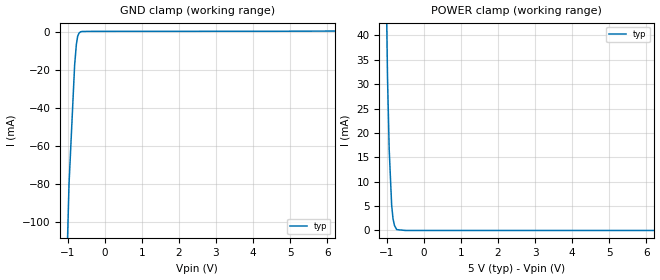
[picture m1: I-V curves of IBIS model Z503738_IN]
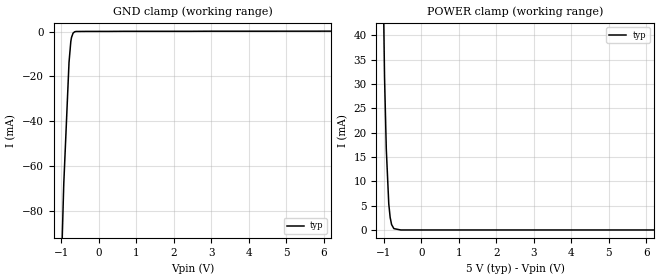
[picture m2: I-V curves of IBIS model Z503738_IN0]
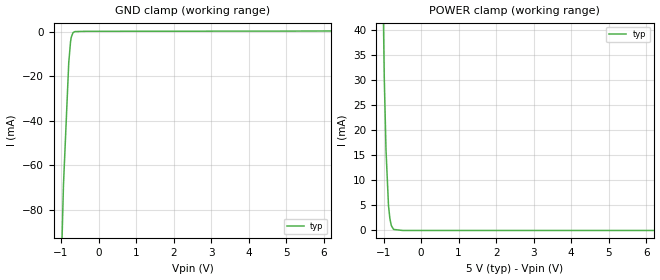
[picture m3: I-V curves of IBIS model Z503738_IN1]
| YOU ARE ONLY AUTHORIZED TO USE THIS SOFTWARE
| ACCORDING TO LICENSOR'S LICENSE RESTRICTIONS.
[IBIS Ver] 3.1
[File Name] mc74ac153d_5.ibs
[File Rev] 2.0
[Source] Measured and created by ICX Technology
[Date] Friday 7/14/00 9:07:58 AM
[Copyright]
| (C) COPYRIGHT 1993-2000
| MENTOR GRAPHICS CORPORATION
| ICX STANDARD LIBRARY, ICX PROJECT MODELING,
| ICX CUSTOM MODELING, ICX VENDOR MODEL
| ALL RIGHTS RESERVED.
| THE FOLLOWING ARE TRADEMARKS OR SERVICE MARKS OF
| MENTOR GRAPHICS CORPORATION:ICX (R), ICX STANDARD
| LIBRARY(R), ICX PROJECT MODELING(R), ICX CUSTOM
| MODELING(R), qualityIBIS(TM), MODELVIEWER(TM),
| AND MODELEDITOR(TM)
| ALL COPIES OF SOFTWARE, INCLUDING BUT NOT LIMITED TO
| ANY MODIFICATIONS, ENHANCEMENTS OR DERIVATIVE WORKS,
| MUST CONTAIN ALL MENTOR GRAPHICS CORPORATION'S
| NOTICES AND LEGENDS, INCLUDING THOSE EMBEDDED IN
| SOFTWARE AND THOSE AFFIXED TO SOFTWARE MEDIUM
| AND CONTAINER, AS RECEIVED FROM MENTOR GRAPHICS
| CORPORATION.
|  ZAP Model Builder 2.7
[Component] MC74AC153D_5
[Manufacturer] OnSemiconductor
[Package]
| variable   typ   min   max
R_pkg  .156ohms NA NA
L_pkg  3.148nH NA NA
C_pkg  .388pF NA NA
[Pin] signal_name  model_name  R_pin  L_pin C_pin
1 _G1 Z503738_IN0 .162 3.798n .418p
2 B Z503738_IN1 .158 3.358n .398p
3 C3A Z503738_IN .154 2.928n .378p
4 C2A Z503738_IN .15 2.508n .358p
5 C1A Z503738_IN .15 2.508n .358p
6 C0A Z503738_IN .154 2.928n .378p
7 Y1 Z503738_OUT .158 3.358n .398p
8 GND GND .162 3.798n .418p
9 Y2 Z503738_OUT .162 3.798n .418p
10 C0B Z503738_IN .158 3.358n .398p
11 C1B Z503738_IN .154 2.928n .378p
12 C2B Z503738_IN .15 2.508n .358p
13 C3B Z503738_IN .15 2.508n .358p
14 A Z503738_IN1 .154 2.928n .378p
15 _G2 Z503738_IN0 .158 3.358n .398p
16 VCC POWER .162 3.798n .418p
| Models and submodels in the file (4): Z503738_IN (Input), Z503738_IN0 (Input), Z503738_IN1 (Input), Z503738_OUT (Output)
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| (C) COPYRIGHT 1993-2000
| MENTOR GRAPHICS CORPORATION
| ICX STANDARD LIBRARY, ICX PROJECT MODELING,
| ICX CUSTOM MODELING, ICX VENDOR MODEL
| ALL RIGHTS RESERVED.
| THE FOLLOWING ARE TRADEMARKS OR SERVICE MARKS OF
| MENTOR GRAPHICS CORPORATION:ICX (R), ICX STANDARD
| LIBRARY(R), ICX PROJECT MODELING(R), ICX CUSTOM
| MODELING(R), qualityIBIS(TM), MODELVIEWER(TM),
| AND MODELEDITOR(TM)
| ALL COPIES OF SOFTWARE, INCLUDING BUT NOT LIMITED TO
| ANY MODIFICATIONS, ENHANCEMENTS OR DERIVATIVE WORKS,
| MUST CONTAIN ALL MENTOR GRAPHICS CORPORATION'S
| NOTICES AND LEGENDS, INCLUDING THOSE EMBEDDED IN
| SOFTWARE AND THOSE AFFIXED TO SOFTWARE MEDIUM
| AND CONTAINER, AS RECEIVED FROM MENTOR GRAPHICS
| CORPORATION.
| Model Application Version 1.89 2/18/99.
[Model] Z503738_IN
Model_type Input
Vinl = 1.500V
Vinh = 3.500V
C_comp 4.000pF NA NA
| variable typ   min   max
[Voltage Range] 5.000V NA NA
[GND Clamp Reference] 0.000V NA NA
[POWER Clamp Reference] 5.000V NA NA
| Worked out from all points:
|   GND clamp passes 1 mA (typ) near -0.69 V on its own axis
|   POWER clamp passes 1 mA (typ) near -0.79 V on its own axis
[GND Clamp]
-5V       -2.662A    NA         NA
-1.128V   -201.3mA   NA         NA
-961.2mV  -80.34mA   NA         NA
-809.9mV  -17.73mA   NA         NA
-762.8mV  -6.702mA   NA         NA
-728.9mV  -2.566mA   NA         NA
-686.7mV  -695.1uA   NA         NA
-648mV    -125.2uA   NA         NA
10V       546.9uA    NA         NA
[POWER Clamp]
-5V       3.455A     NA         NA
-1.226V   192mA      NA         NA
-1.093V   92.57mA    NA         NA
-980mV    31.52mA    NA         NA
-934mV    16.53mA    NA         NA
-868mV    5.203mA    NA         NA
-832mV    2.463mA    NA         NA
-793mV    1.043mA    NA         NA
-732mV    178.3uA    NA         NA
-488mV    0A         NA         NA
10V       0A         NA         NA
| (C) COPYRIGHT 1993-2000
| MENTOR GRAPHICS CORPORATION
| ICX STANDARD LIBRARY, ICX PROJECT MODELING,
| ICX CUSTOM MODELING, ICX VENDOR MODEL
| ALL RIGHTS RESERVED.
| THE FOLLOWING ARE TRADEMARKS OR SERVICE MARKS OF
| MENTOR GRAPHICS CORPORATION:ICX (R), ICX STANDARD
| LIBRARY(R), ICX PROJECT MODELING(R), ICX CUSTOM
| MODELING(R), qualityIBIS(TM), MODELVIEWER(TM),
| AND MODELEDITOR(TM)
| ALL COPIES OF SOFTWARE, INCLUDING BUT NOT LIMITED TO
| ANY MODIFICATIONS, ENHANCEMENTS OR DERIVATIVE WORKS,
| MUST CONTAIN ALL MENTOR GRAPHICS CORPORATION'S
| NOTICES AND LEGENDS, INCLUDING THOSE EMBEDDED IN
| SOFTWARE AND THOSE AFFIXED TO SOFTWARE MEDIUM
| AND CONTAINER, AS RECEIVED FROM MENTOR GRAPHICS
| CORPORATION.
| Model Application Version 1.89 2/18/99.
[Model] Z503738_IN0
Model_type Input
Vinl = 1.500V
Vinh = 3.500V
C_comp 4.000pF NA NA
| variable typ   min   max
[Voltage Range] 5.000V NA NA
[GND Clamp Reference] 0.000V NA NA
[POWER Clamp Reference] 5.000V NA NA
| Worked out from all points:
|   GND clamp passes 1 mA (typ) near -0.69 V on its own axis
|   POWER clamp passes 1 mA (typ) near -0.78 V on its own axis
[GND Clamp]
-5V       -2.432A    NA         NA
-1.021V   -118.9mA   NA         NA
-935.1mV  -68.23mA   NA         NA
-794.9mV  -13.79mA   NA         NA
-746.8mV  -4.446mA   NA         NA
-728.8mV  -2.637mA   NA         NA
-686.7mV  -700.7uA   NA         NA
-648.2mV  -124uA     NA         NA
10V       240.5uA    NA         NA
[POWER Clamp]
-5V       3.177A     NA         NA
-1.106V   99.45mA    NA         NA
-981mV    31.45mA    NA         NA
-934mV    16.61mA    NA         NA
-868mV    5.363mA    NA         NA
-831mV    2.581mA    NA         NA
-793mV    1.117mA    NA         NA
-732mV    279.8uA    NA         NA
-549mV    0A         NA         NA
10V       0A         NA         NA
| (C) COPYRIGHT 1993-2000
| MENTOR GRAPHICS CORPORATION
| ICX STANDARD LIBRARY, ICX PROJECT MODELING,
| ICX CUSTOM MODELING, ICX VENDOR MODEL
| ALL RIGHTS RESERVED.
| THE FOLLOWING ARE TRADEMARKS OR SERVICE MARKS OF
| MENTOR GRAPHICS CORPORATION:ICX (R), ICX STANDARD
| LIBRARY(R), ICX PROJECT MODELING(R), ICX CUSTOM
| MODELING(R), qualityIBIS(TM), MODELVIEWER(TM),
| AND MODELEDITOR(TM)
| ALL COPIES OF SOFTWARE, INCLUDING BUT NOT LIMITED TO
| ANY MODIFICATIONS, ENHANCEMENTS OR DERIVATIVE WORKS,
| MUST CONTAIN ALL MENTOR GRAPHICS CORPORATION'S
| NOTICES AND LEGENDS, INCLUDING THOSE EMBEDDED IN
| SOFTWARE AND THOSE AFFIXED TO SOFTWARE MEDIUM
| AND CONTAINER, AS RECEIVED FROM MENTOR GRAPHICS
| CORPORATION.
| Model Application Version 1.89 2/18/99.
[Model] Z503738_IN1
Model_type Input
Vinl = 1.500V
Vinh = 3.500V
C_comp 4.000pF NA NA
| variable typ   min   max
[Voltage Range] 5.000V NA NA
[GND Clamp Reference] 0.000V NA NA
[POWER Clamp Reference] 5.000V NA NA
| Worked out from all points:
|   GND clamp passes 1 mA (typ) near -0.69 V on its own axis
|   POWER clamp passes 1 mA (typ) near -0.79 V on its own axis
[GND Clamp]
-5V       -2.649A    NA         NA
-934.8mV  -68.62mA   NA         NA
-794.5mV  -13.97mA   NA         NA
-746.3mV  -4.537mA   NA         NA
-729.1mV  -2.696mA   NA         NA
-686.8mV  -722.6uA   NA         NA
-628mV    -18.44uA   NA         NA
10V       446.4uA    NA         NA
[POWER Clamp]
-5V       3.188A     NA         NA
-1.108V   98.52mA    NA         NA
-981mV    30.74mA    NA         NA
-934mV    16.04mA    NA         NA
-868mV    5.028mA    NA         NA
-831mV    2.383mA    NA         NA
-793mV    990.6uA    NA         NA
-732mV    214.6uA    NA         NA
-488mV    0A         NA         NA
10V       0A         NA         NA
